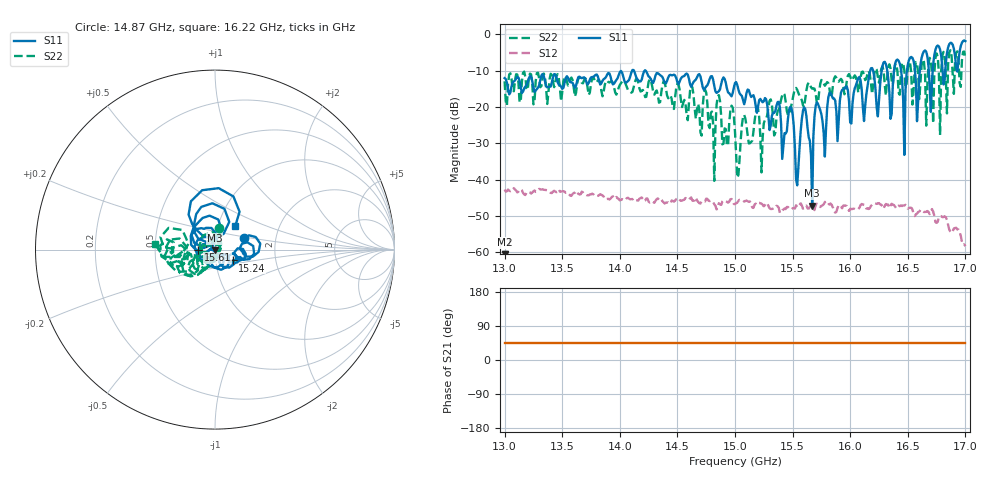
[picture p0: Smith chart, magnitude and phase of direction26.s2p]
!Keysight Technologies,P9374A,MY57211810,A.19.30.04
!Date: Friday, May 02, 2025 09:02:40
!Correction: S11(Off)
!S21(Off)
!S12(Off)
!S22(Off)
!S2P File: Measurements: S11, S21, S12, S22:
# Hz S  dB  R 50
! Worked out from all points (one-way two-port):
!   401 points, 13 GHz to 17 GHz, reference 50 ohm
!   highest |S21| = - dB at 13 GHz (marker M1); lowest = - dB at 13 GHz (marker M2)
!   lowest |S11| = -47.2 dB at 15.67 GHz (marker M3), VSWR 1.01, Z = 49.9 - j0.418 ohm
!   |S11| at or under -10 dB: start of sweep to 14.11 GHz; 14.12 GHz to 14.22 GHz (95.33 MHz wide, 0.673 % of centre); 14.22 GHz to 16.17 GHz (1.952 GHz wide, 12.8 % of centre) (the widest 3 of 10)
!   |S22| runs from -40.3 to -4.4 dB; largest |S21 - S12| = 0.0077
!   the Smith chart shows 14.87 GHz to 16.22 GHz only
!   S11 on the Smith chart (normalised r, x): 14.87 GHz: 1.38, +0.18; 15.24 GHz: 1.21, -0.15; 15.61 GHz: 0.83, -0.00; 16.22 GHz: 1.21, +0.32
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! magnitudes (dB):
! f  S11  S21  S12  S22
! 13 GHz  -12.1  -  -42.7  -13.0
! 13.67 GHz  -12.1  -  -43.3  -13.4
! 14.34 GHz  -11.0  -  -45.5  -18.8
! 14.87 GHz  -15.1  -  -46.8  -18.4
! 15 GHz  -13.4  -  -46.8  -26.9
! 15.24 GHz  -18.7  -  -46.9  -28.4
! 15.43 GHz  -27.2  -  -48.0  -16.6
! 15.49 GHz  -20.3  -  -48.1  -19.4
! 15.54 GHz  -41.6  -  -47.6  -15.3
! 15.61 GHz  -20.6  -  -47.5  -17.8
! 15.67 GHz  -47.2  -  -47.3  -15.0
! 15.72 GHz  -19.1  -  -47.1  -19.1
! 16.22 GHz  -15.3  -  -46.6  -9.4
! 16.3 GHz  -7.6  -  -47.2  -13.9
! 16.34 GHz  -15.9  -  -47.8  -8.3
! 16.41 GHz  -7.0  -  -47.4  -10.2
! 16.47 GHz  -33.2  -  -47.1  -10.0
! 16.52 GHz  -6.5  -  -47.7  -7.9
! 16.58 GHz  -23.9  -  -49.3  -7.9
! 16.64 GHz  -4.7  -  -48.9  -7.5
! 16.7 GHz  -21.4  -  -48.8  -7.2
! 17 GHz  -1.9  -  -58.3  -6.9
